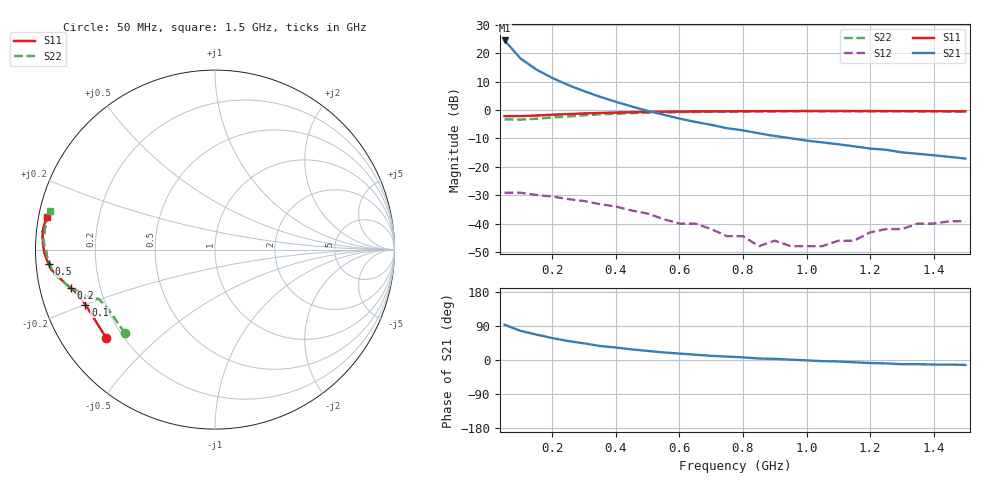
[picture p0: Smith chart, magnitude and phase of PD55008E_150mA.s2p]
! freq mag(S11) phase(S11) mag(S12) phase(S12)
!  mag(S21) phase(S21) mag(S22) phase(S22)
! Vdd= 12.5 V, Idq = 150mA
!s-parameter data
#  MHz  S  MA  R 50
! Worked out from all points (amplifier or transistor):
!   30 points, 50 MHz to 1.5 GHz, reference 50 ohm
!   highest |S21| = 24.6 dB at 50 MHz (marker M1)
!   |S21| within 3 dB of that: start of sweep to 73.66 MHz
!   unconditionally stable (mu >= 1): 733.3 MHz to end of sweep
!   at 300 MHz: K = 0.12, MSG = 19.4 dB, |S12| = -32.0 dB
!   at 800 MHz: K = 1.09, MAG = 16.8 dB, |S12| = -44.4 dB
!   at 1.5 GHz: K = 3.27, MAG = 3.0 dB, |S12| = -39.2 dB
!   S11 on the Smith chart (normalised r, x): 50 MHz: 0.14, -0.35; 100 MHz: 0.13, -0.20; 200 MHz: 0.09, -0.13; 500 MHz: 0.04, -0.04; 1.5 GHz: 0.02, +0.10
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50  0.781 -141.0  16.89 93.0  0.035 4.0  0.685 -137.0
100  0.784 -157.0  8.14 77.0  0.035 -11.0  0.681 -151.0
150  0.803 -162.0  5.19 67.0  0.032 -18.0  0.704 -157.0
200  0.83 -165.0  3.69 58.0  0.03 -26.0  0.743 -159.0
250  0.852 -167.0  2.77 50.0  0.027 -34.0  0.773 -161.0
300  0.873 -169.0  2.16 44.0  0.025 -39.0  0.812 -164.0
350  0.892 -171.0  1.72 37.0  0.022 -43.0  0.844 -166.0
450  0.919 -173.0  1.16 28.0  0.017 -47.0  0.888 -170.0
500  0.928 -175.0  0.97 24.0  0.015 -51.0  0.903 -171.0
550  0.936 -176.0  0.83 20.0  0.012 -52.0  0.913 -173.0
650  0.946 -178.0  0.62 14.0  0.01 -52.0  0.926 -176.0
750  0.954 180.0  0.48 9.0  0.006 -48.0  0.937 -178.0
800  0.957 179.0  0.44 7.0  0.006 -40.0  0.94 -180.0
850  0.959 178.0  0.39 4.0  0.004 -30.0  0.95 179.0
900  0.96 177.0  0.35 3.0  0.005 -1.0  0.952 178.0
950  0.963 176.0  0.32 1.0  0.004 17.0  0.957 177.0
1050  0.964 175.0  0.27 -3.0  0.004 43.0  0.953 175.0
1150  0.963 173.0  0.23 -6.0  0.005 59.0  0.954 173.0
1200  0.964 174.0  0.21 -8.0  0.007 58.0  0.952 172.0
1300  0.961 172.0  0.18 -11.0  0.008 57.0  0.953 171.0
1350  0.96 171.0  0.17 -11.0  0.01 68.0  0.95 170.0
1500  0.952 169.0  0.14 -13.0  0.011 76.0  0.944 167.0
